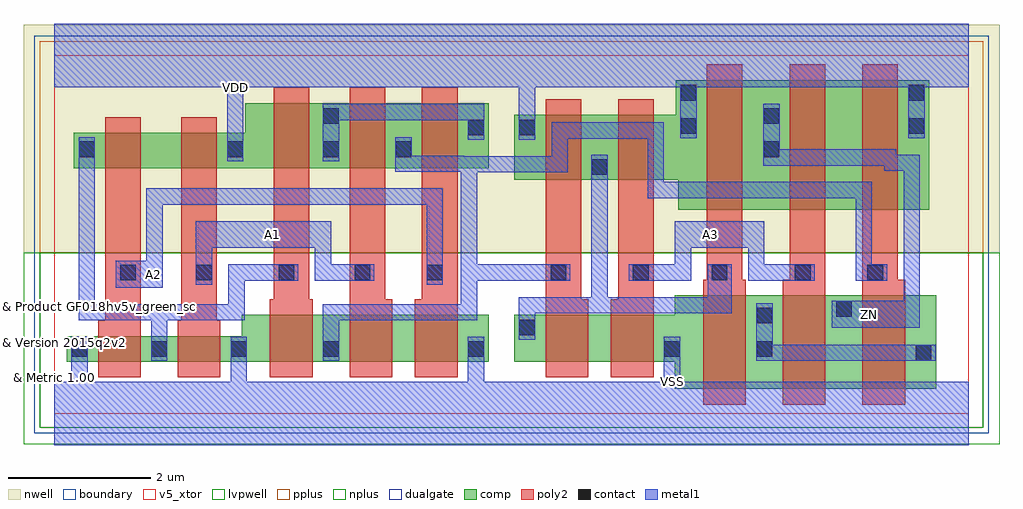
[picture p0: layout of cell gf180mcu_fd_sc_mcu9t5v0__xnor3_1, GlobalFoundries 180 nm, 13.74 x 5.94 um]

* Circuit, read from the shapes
.subckt gf180mcu_fd_sc_mcu9t5v0__xnor3_1 A1 A2 A3 VDD VSS ZN
XM1 n1 A2 VSS VSUBS nfet_05v0 w=0.36u l=0.6u
XM2 VSS A1 n1 VSUBS nfet_05v0 w=0.36u l=0.6u
XM3 n2 n1 VSS VSUBS nfet_05v0 w=0.66u l=0.6u
XM4 n3 A1 n2 VSUBS nfet_05v0 w=0.66u l=0.6u
XM5 VSS A2 n3 VSUBS nfet_05v0 w=0.66u l=0.6u
XM6 n4 n2 n5 VSUBS nfet_05v0 w=0.66u l=0.6u
XM7 VSS A3 n4 VSUBS nfet_05v0 w=0.66u l=0.6u
XM8 n6 n5 VSS VSUBS nfet_05v0 w=1.32u l=0.6u
XM9 ZN A3 n6 VSUBS nfet_05v0 w=1.32u l=0.6u
XM10 n6 n2 ZN VSUBS nfet_05v0 w=1.32u l=0.6u
XM11 n7 A2 n1 n8 pfet_05v0 w=0.495u l=0.5u
XM12 VDD A1 n7 n8 pfet_05v0 w=0.495u l=0.5u
XM13 n9 n1 VDD n8 pfet_05v0 w=0.915u l=0.5u
XM14 n2 A1 n9 n8 pfet_05v0 w=0.915u l=0.5u
XM15 n9 A2 n2 n8 pfet_05v0 w=0.915u l=0.5u
XM16 n5 n2 VDD n8 pfet_05v0 w=0.915u l=0.5u
XM17 VDD A3 n5 n8 pfet_05v0 w=0.915u l=0.5u
XM18 ZN n5 VDD n8 pfet_05v0 w=1.83u l=0.5u
XM19 n10 A3 ZN n8 pfet_05v0 w=1.83u l=0.5u
XM20 VDD n2 n10 n8 pfet_05v0 w=1.83u l=0.5u
.ends

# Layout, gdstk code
import gdstk
lib = gdstk.Library(unit=1e-6, precision=1e-09)
def R(c, l, rs):  # rectangles x0, y0, x1, y1
    for r in rs: c.add(gdstk.rectangle(r[:2], r[2:], *l))
def A(c, l, x, y, w, h, nx, ny, dx, dy):  # array of equal rectangles
    R(c, l, [(x+i*dx, y+j*dy, x+i*dx+w, y+j*dy+h) for i in range(nx) for j in range(ny)])
def P(c, l, *ps):  # polygons
    for p in ps: c.add(gdstk.Polygon(p, *l))
boundary = (0, 0)
nwell = (21, 0)
comp = (22, 0)
poly2 = (30, 0)
pplus = (31, 0)
nplus = (32, 0)
contact = (33, 0)
metal1 = (34, 0)
dualgate = (55, 0)
v5_xtor = (112, 1)
lvpwell = (204, 0)

gf180mcu_fd_sc_mcu9t5v0_ = lib.new_cell('gf180mcu_fd_sc_mcu9t5v0__xnor3_1')
R(gf180mcu_fd_sc_mcu9t5v0_, boundary, [(0,0,12.88,5.04)])
R(gf180mcu_fd_sc_mcu9t5v0_, nwell, [(-0.43,2.265,13.31,5.47)])
P(gf180mcu_fd_sc_mcu9t5v0_, comp, [(0.18,0.73),(0.18,1.09),(2.64,1.09),(2.64,1.39),(6.12,1.39),(6.12,0.73)],
  [(0.28,3.455),(0.28,3.95),(2.69,3.95),(2.69,4.37),(6.12,4.37),(6.12,3.455)],
  [(8.79,2.865),(8.79,3.29),(6.48,3.29),(6.48,4.205),(8.75,4.205),(8.75,4.695),(12.32,4.695),(12.32,2.865)],
  [(8.74,0.345),(8.74,0.73),(6.48,0.73),(6.48,1.39),(8.74,1.39),(8.74,1.665),(12.42,1.665),(12.42,0.345)])
P(gf180mcu_fd_sc_mcu9t5v0_, poly2, [(0.62,0.51),(0.62,1.31),(0.72,1.31),(0.72,4.17),(1.22,4.17),(1.22,0.51)],
  [(1.74,0.51),(1.74,1.31),(1.79,1.31),(1.79,4.17),(2.29,4.17),(2.29,1.31),(2.34,1.31),(2.34,0.51)],
  [(3.04,0.51),(3.04,1.61),(3.09,1.61),(3.09,4.59),(3.59,4.59),(3.59,1.61),(3.64,1.61),(3.64,0.51)],
  [(4.16,0.51),(4.16,4.59),(4.66,4.59),(4.66,1.61),(4.76,1.61),(4.76,0.51)],
  [(5.08,0.51),(5.08,1.61),(5.18,1.61),(5.18,4.59),(5.68,4.59),(5.68,0.51)],
  [(6.92,0.51),(6.92,4.425),(7.42,4.425),(7.42,1.61),(7.52,1.61),(7.52,0.51)],
  [(7.84,0.51),(7.84,1.61),(7.94,1.61),(7.94,4.425),(8.44,4.425),(8.44,0.51)],
  [(9.14,0.125),(9.14,1.885),(9.19,1.885),(9.19,4.915),(9.69,4.915),(9.69,1.885),(9.74,1.885),(9.74,0.125)],
  [(10.26,0.125),(10.26,1.885),(10.36,1.885),(10.36,4.915),(10.86,4.915),(10.86,0.125)],
  [(11.38,0.125),(11.38,4.915),(11.88,4.915),(11.88,1.885),(11.98,1.885),(11.98,0.125)])
R(gf180mcu_fd_sc_mcu9t5v0_, pplus, [(-0.2,2.265,13.08,5.24)])
R(gf180mcu_fd_sc_mcu9t5v0_, nplus, [(-0.2,-0.2,13.08,2.265)])
A(gf180mcu_fd_sc_mcu9t5v0_, contact, 0.25, 0.8, 0.22, 0.22, 3, 1, 1.12, 0)
R(gf180mcu_fd_sc_mcu9t5v0_, contact, [(12.13,0.745,12.35,0.965), (3.79,0.8,4.01,1.02), (5.83,0.8,6.05,1.02), (8.59,0.8,8.81,1.02), (9.89,0.8,10.11,1.02), (6.55,1.1,6.77,1.32), (9.89,1.27,10.11,1.49), (11.01,1.365,11.23,1.585), (0.93,1.875,1.15,2.095), (2,1.875,2.22,2.095), (3.16,1.875,3.38,2.095), (4.23,1.875,4.45,2.095), (5.25,1.875,5.47,2.095), (6.99,1.875,7.21,2.095), (8.15,1.875,8.37,2.095), (9.26,1.875,9.48,2.095), (10.43,1.875,10.65,2.095), (11.45,1.875,11.67,2.095), (7.57,3.36,7.79,3.58), (0.35,3.61,0.57,3.83), (2.44,3.61,2.66,3.83), (3.79,3.61,4.01,3.83), (4.81,3.61,5.03,3.83), (9.99,3.61,10.21,3.83), (5.83,3.915,6.05,4.135), (6.55,3.915,6.77,4.135), (8.82,3.935,9.04,4.155), (12.03,3.935,12.25,4.155), (3.79,4.08,4.01,4.3), (9.99,4.08,10.21,4.3), (8.82,4.405,9.04,4.625), (12.03,4.405,12.25,4.625)])
P(gf180mcu_fd_sc_mcu9t5v0_, metal1, [(1.365,0.74),(1.365,1.31),(0.345,1.31),(0.345,3.89),(0.575,3.89),(0.575,1.54),(2.455,1.54),(2.455,2.1),(3.44,2.1),(3.44,1.87),(2.685,1.87),(2.685,1.31),(1.595,1.31),(1.595,0.74)],
  [(1.995,1.815),(1.995,2.71),(3.9,2.71),(3.9,2.1),(4.51,2.1),(4.51,1.87),(3.67,1.87),(3.67,2.33),(2.225,2.33),(2.225,1.815)],
  [(0.87,1.77),(0.87,2.15),(1.3,2.15),(1.3,3.17),(5.475,3.17),(5.475,1.815),(5.245,1.815),(5.245,2.94),(1.53,2.94),(1.53,1.77)],
  [(3.785,3.55),(3.785,4.36),(6.055,4.36),(6.055,3.855),(5.825,3.855),(5.825,4.13),(4.015,4.13),(4.015,3.55)],
  [(6.545,1.04),(6.545,1.64),(7.565,1.64),(7.565,3.64),(7.795,3.64),(7.795,1.64),(9.2,1.64),(9.2,2.1),(9.54,2.1),(9.54,1.41),(6.775,1.41),(6.775,1.04)],
  [(8.09,1.87),(8.09,2.1),(8.74,2.1),(8.74,2.71),(10,2.71),(10,2.1),(10.71,2.1),(10.71,1.87),(9.77,1.87),(9.77,2.33),(8.97,2.33),(8.97,1.87)],
  [(3.785,0.74),(3.785,1.54),(5.725,1.54),(5.725,3.4),(4.805,3.4),(4.805,3.89),(5.035,3.89),(5.035,3.63),(5.775,3.63),(5.775,3.625),(7.005,3.625),(7.005,4.1),(8.585,4.1),(8.585,3.26),(11.515,3.26),(11.515,2.1),(11.73,2.1),(11.73,1.87),(11.285,1.87),(11.285,3.03),(8.355,3.03),(8.355,3.87),(7.235,3.87),(7.235,3.395),(5.955,3.395),(5.955,2.1),(7.27,2.1),(7.27,1.87),(5.955,1.87),(5.955,1.31),(4.015,1.31),(4.015,0.74)],
  [(10.95,1.21),(10.95,1.59),(11.96,1.59),(11.96,3.415),(11.685,3.415),(11.685,3.49),(9.985,3.49),(9.985,4.36),(10.215,4.36),(10.215,3.72),(11.855,3.72),(11.855,3.645),(12.19,3.645),(12.19,1.21)],
  [(9.885,0.74),(9.885,1.55),(10.115,1.55),(10.115,0.97),(12.41,0.97),(12.41,0.74)],
  [(0,-0.45),(0,0.45),(0.245,0.45),(0.245,1.08),(0.475,1.08),(0.475,0.45),(2.485,0.45),(2.485,1.08),(2.715,1.08),(2.715,0.45),(5.825,0.45),(5.825,1.08),(6.055,1.08),(6.055,0.45),(8.585,0.45),(8.585,1.08),(8.815,1.08),(8.815,0.45),(12.88,0.45),(12.88,-0.45)],
  [(2.435,3.55),(2.435,4.59),(0,4.59),(0,5.49),(12.88,5.49),(12.88,4.59),(12.255,4.59),(12.255,3.875),(12.025,3.875),(12.025,4.59),(9.045,4.59),(9.045,3.875),(8.815,3.875),(8.815,4.59),(6.775,4.59),(6.775,3.855),(6.545,3.855),(6.545,4.59),(2.665,4.59),(2.665,3.55)])
R(gf180mcu_fd_sc_mcu9t5v0_, dualgate, [(-0.28,-0.28,13.16,5.32)])
R(gf180mcu_fd_sc_mcu9t5v0_, v5_xtor, [(0,0,12.88,5.04)])
R(gf180mcu_fd_sc_mcu9t5v0_, lvpwell, [(-0.43,-0.43,13.31,2.265)])
gf180mcu_fd_sc_mcu9t5v0_.add(gdstk.Label('A1', (3.08,2.52), layer=34, texttype=10))
gf180mcu_fd_sc_mcu9t5v0_.add(gdstk.Label('A2', (1.4,1.96), layer=34, texttype=10))
gf180mcu_fd_sc_mcu9t5v0_.add(gdstk.Label('A3', (9.24,2.52), layer=34, texttype=10))
gf180mcu_fd_sc_mcu9t5v0_.add(gdstk.Label('VDD', (2.55,4.59), layer=34, texttype=10))
gf180mcu_fd_sc_mcu9t5v0_.add(gdstk.Label('VSS', (8.7,0.45), layer=34, texttype=10))
gf180mcu_fd_sc_mcu9t5v0_.add(gdstk.Label('ZN', (11.48,1.4), layer=34, texttype=10))
gf180mcu_fd_sc_mcu9t5v0_.add(gdstk.Label('& Vendor GLOBALFOUNDRIES', (0,2), layer=63, texttype=63))
gf180mcu_fd_sc_mcu9t5v0_.add(gdstk.Label('& Product GF018hv5v_green_sc9', (0,1.5), layer=63, texttype=63))
gf180mcu_fd_sc_mcu9t5v0_.add(gdstk.Label('& Version 2015q2v2', (0,1), layer=63, texttype=63))
gf180mcu_fd_sc_mcu9t5v0_.add(gdstk.Label('& Metric 1.00', (0,0.5), layer=63, texttype=63))

lib.write_gds('gf180mcu_fd_sc_mcu9t5v0__xnor3_1.gds')
